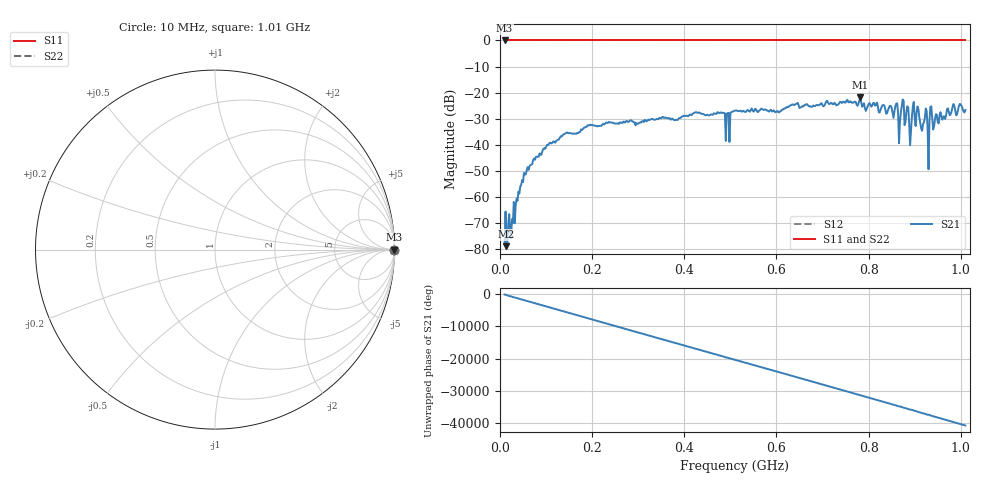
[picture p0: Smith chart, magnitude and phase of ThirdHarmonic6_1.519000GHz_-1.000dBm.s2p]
! 8/16/2025 5:55:44 PM
! C:\ANRITSUVNA\TEMP\TEMP.S2P
! CHANNEL.1
! TR.MEASUREMENT
! RAW.DATA
! RF.CORRECTION.OFF
! AVERAGING.OFF
! IF.BANDWIDTH: 5KHZ
! SWEEPTYPE:  FREQ.SWEEP(Linear)
! Reference Plane Port Info
! PORT:  PORT1  PORT2
! DISTANCE:  0  m  0  m
! TIME:  0  s  0  s
! PHASE.OFFSET:  0  deg.  0  deg.
! LOSS:  0  dB  0  dB
! REF.LOSS:  0  dB  0  dB
! REF.FREQ:  0  Hz  0  Hz
! Power Info
! POWER:  -20  dBm  -20  dBm
! EFF.POWER:  -20  dBm  -20  dBm
! SOURCE.ATTEN:  0  dB  0  dB
! TEST.ATTEN:  0  dB  0  dB
# GHZ S RI R 50.0
! FREQ.GHZ  S11RE  S11IM  S21RE  S21IM  S12RE  S12IM  S22RE  S22IM
!; PortSelection: Port_12
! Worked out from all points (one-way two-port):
!   501 points, 10 MHz to 1.01 GHz, reference 50 ohm
!   highest |S21| = -21.63 dB at 782 MHz (marker M1); lowest = -78.8 dB at 14 MHz (marker M2)
!   lowest |S11| = 0.0 dB at 10 MHz (marker M3)
!   |S11| at or under -10 dB: nowhere
!   |S22| runs from 0.0 to 0.0 dB; largest |S21 - S12| = 1.1
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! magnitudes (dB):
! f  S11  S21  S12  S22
! 10 MHz  0.0  -78.0  0.0  0.0
! 14 MHz  0.0  -78.8  0.0  0.0
! 28 MHz  0.0  -69.9  0.0  0.0
! 48 MHz  0.0  -53.5  0.0  0.0
! 76 MHz  0.0  -45.7  0.0  0.0
! 178 MHz  0.0  -34.3  0.0  0.0
! 344 MHz  0.0  -30.1  0.0  0.0
! 482 MHz  0.0  -27.8  0.0  0.0
! 494 MHz  0.0  -27.9  0.0  0.0
! 510 MHz  0.0  -26.9  0.0  0.0
! 678 MHz  0.0  -25.3  0.0  0.0
! 782 MHz  0.0  -21.6  0.0  0.0
! 844 MHz  0.0  -25.8  0.0  0.0
! 868 MHz  0.0  -31.0  0.0  0.0
! 872 MHz  0.0  -25.2  0.0  0.0
! 890 MHz  0.0  -40.1  0.0  0.0
! 900 MHz  0.0  -29.7  0.0  0.0
! 916 MHz  0.0  -34.6  0.0  0.0
! 922 MHz  0.0  -29.7  0.0  0.0
! 928 MHz  0.0  -33.9  0.0  0.0
! 936 MHz  0.0  -25.2  0.0  0.0
! 1.01 GHz  0.0  -26.6  0.0  0.0
